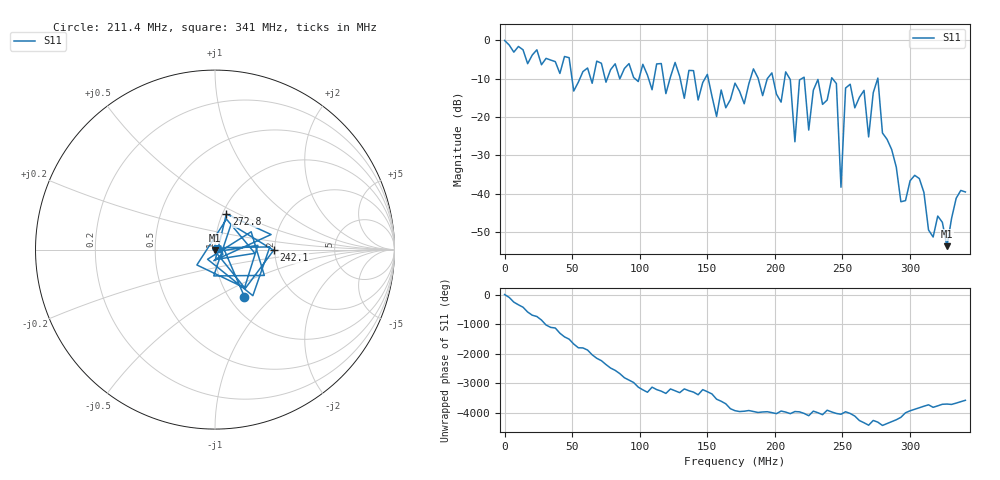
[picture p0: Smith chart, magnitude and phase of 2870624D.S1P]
!File created by NanoVNA
# Hz S RI R 50
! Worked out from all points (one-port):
!   101 points, 50 kHz to 341 MHz, reference 50 ohm
!   lowest |S11| = -53.7 dB at 327.4 MHz (marker M1), VSWR 1.00, Z = 50 - j0.207 ohm
!   |S11| at or under -10 dB: 150.8 MHz to 181.9 MHz (31.13 MHz wide, 18.7 % of centre); 242.8 MHz to 276 MHz (33.29 MHz wide, 12.8 % of centre); 276.3 MHz to end of sweep (the widest 3 of 16)
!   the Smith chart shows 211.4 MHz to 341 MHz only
!   S11 on the Smith chart (normalised r, x): 211.4 MHz: 1.18, -0.68; 242.1 MHz: 1.97, -0.02; 272.8 MHz: 1.04, +0.43; 341 MHz: 1.02, +0.01
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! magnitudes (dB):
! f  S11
! 50 kHz  0.0
! 44.37 MHz  -4.2
! 51.19 MHz  -13.2
! 85.29 MHz  -10.0
! 129.6 MHz  -9.4
! 150.1 MHz  -8.8
! 156.9 MHz  -19.8
! 170.5 MHz  -11.1
! 211.4 MHz  -10.2
! 214.8 MHz  -26.4
! 218.3 MHz  -10.3
! 221.7 MHz  -9.6
! 225.1 MHz  -23.4
! 231.9 MHz  -10.2
! 242.1 MHz  -9.7
! 245.5 MHz  -11.2
! 248.9 MHz  -38.3
! 252.4 MHz  -12.4
! 255.8 MHz  -11.4
! 266 MHz  -13.0
! 269.4 MHz  -25.2
! 272.8 MHz  -13.6
! 276.2 MHz  -9.8
! 279.6 MHz  -24.1
! 293.3 MHz  -42.1
! 300.1 MHz  -36.6
! 327.4 MHz  -53.7
! 341 MHz  -39.5
